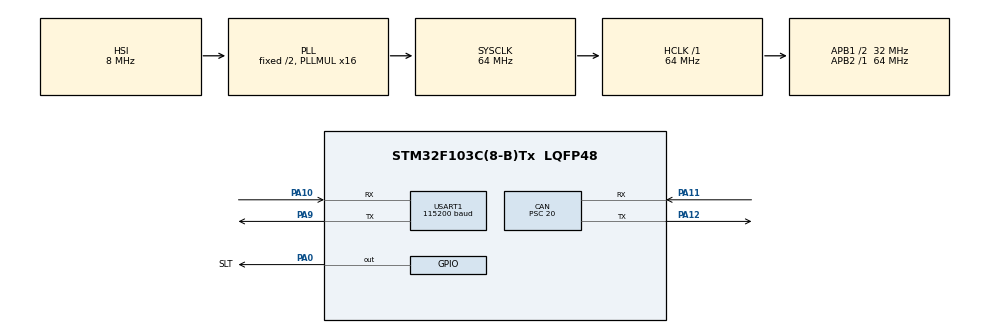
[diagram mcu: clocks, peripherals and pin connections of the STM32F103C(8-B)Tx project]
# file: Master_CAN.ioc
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CAN.ABOM=ENABLE
CAN.AWUM=ENABLE
CAN.BS1=CAN_BS1_13TQ
CAN.BS2=CAN_BS2_2TQ
CAN.CalculateBaudRate=100000
CAN.CalculateTimeBit=10000
CAN.CalculateTimeQuantum=625.0
CAN.NART=DISABLE
CAN.Prescaler=20
CAN.SJW=CAN_SJW_1TQ
Mcu.Family=STM32F1
Mcu.Name=STM32F103C(8-B)Tx
Mcu.Package=LQFP48
NVIC.PriorityGroup=NVIC_PRIORITYGROUP_4
NVIC.USART1_IRQn=true\:6\:0\:true\:false\:true\:true\:true\:true
NVIC.USB_LP_CAN1_RX0_IRQn=true\:5\:0\:true\:false\:true\:true\:true\:true
PA0-WKUP.GPIO_Label=SLT
PA0-WKUP.Signal=GPIO_Output
PA10.Mode=Asynchronous
PA10.Signal=USART1_RX
PA11.GPIO_PuPd=GPIO_PULLUP
PA11.Mode=CAN_Activate
PA11.Signal=CAN_RX
PA12.Mode=CAN_Activate
PA12.Signal=CAN_TX
PA13.Mode=Serial_Wire
PA13.Signal=SYS_JTMS-SWDIO
PA14.Mode=Serial_Wire
PA14.Signal=SYS_JTCK-SWCLK
PA9.Mode=Asynchronous
PA9.Signal=USART1_TX
ProjectManager.HeapSize=0x200
ProjectManager.StackSize=0x400
ProjectManager.TargetToolchain=STM32CubeIDE
RCC.AHBFreq_Value=64000000
RCC.APB1CLKDivider=RCC_HCLK_DIV2
RCC.APB1Freq_Value=32000000
RCC.APB1TimFreq_Value=64000000
RCC.APB2Freq_Value=64000000
RCC.APB2TimFreq_Value=64000000
RCC.HCLKFreq_Value=64000000
RCC.PLLMUL=RCC_PLL_MUL16
RCC.SYSCLKFreq_VALUE=64000000
RCC.SYSCLKSource=RCC_SYSCLKSOURCE_PLLCLK
RCC.USBFreq_Value=64000000
USART1.BaudRate=115200
USART1.VirtualMode=VM_ASYNC
board=custom

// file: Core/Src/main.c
/* USER CODE BEGIN Header */
/**
  ******************************************************************************
  * @file           : main.c
  * @brief          : Main program body
  ******************************************************************************
  * @attention
  *
  * Copyright (c) 2026 STMicroelectronics.
  * All rights reserved.
  *
  * This software is licensed under terms that can be found in the LICENSE file
  * in the root directory of this software component.
  * If no LICENSE file comes with this software, it is provided AS-IS.
  *
  ******************************************************************************
  */
/* USER CODE END Header */
#include "main.h"

/* USER CODE BEGIN Includes */
#include "stdio.h"
/* USER CODE END Includes */

/* USER CODE BEGIN PTD */
typedef struct
{
	CAN_RxHeaderTypeDef header;
	uint8_t data[8];
} CAN_Frame_t;

CAN_TxHeaderTypeDef   TxHeader =
{
	.IDE = CAN_ID_STD,
	.RTR = CAN_RTR_DATA,
	.TransmitGlobalTime = DISABLE
};
uint8_t               TxData[8];
uint32_t              TxMailbox;
/* USER CODE END PTD */

/* USER CODE BEGIN PD */
#define CAN_QUEUE_SIZE		32
/* USER CODE END PD */

CAN_HandleTypeDef hcan;

UART_HandleTypeDef huart1;

/* USER CODE BEGIN PV */
volatile CAN_Frame_t canQueue[CAN_QUEUE_SIZE];
volatile uint8_t canHead = 0;
volatile uint8_t canTail = 0;
volatile uint8_t canCount = 0;

uint8_t RxData[64];
uint8_t UART_TxData[64];

volatile uint8_t Uart_RxData[5];

uint8_t sendCmdFlag = 0;
/* USER CODE END PV */

void SystemClock_Config(void);
static void MX_GPIO_Init(void);
static void MX_CAN_Init(void);
static void MX_USART1_UART_Init(void);

/* USER CODE BEGIN 0 */
void HAL_CAN_RxFifo0MsgPendingCallback(CAN_HandleTypeDef *hcan)
{
    CAN_Frame_t tempFrame;
    if (HAL_CAN_GetError(hcan) != HAL_CAN_ERROR_NONE)
        return;
    HAL_CAN_GetRxMessage(hcan, CAN_RX_FIFO0, &tempFrame.header, tempFrame.data);

    if (canCount < CAN_QUEUE_SIZE)
    {
        canQueue[canHead] = tempFrame;
        canHead = (canHead + 1) % CAN_QUEUE_SIZE;
        canCount++;
    }
    else
    {
        // buffer full -> báo lỗi mất frame
    }

}

void HAL_UART_RxCpltCallback(UART_HandleTypeDef *huart)
{
    if (huart->Instance == USART1)
    {
    	uint16_t can_id = (Uart_RxData[0] << 8) | Uart_RxData[1];
    	uint8_t dlc = Uart_RxData[2];

		TxHeader.StdId = can_id;
		TxHeader.DLC = dlc;

		memcpy(TxData, &Uart_RxData[3U], 2);

    	sendCmdFlag = 1;

        HAL_UART_Receive_IT(huart, &Uart_RxData[0U], 5);
    }
}
/* USER CODE END 0 */

int main(void)
{

  /* MCU Configuration--------------------------------------------------------*/

  /* Reset of all peripherals, Initializes the Flash interface and the Systick. */
  HAL_Init();

  /* Configure the system clock */
  SystemClock_Config();

  /* Initialize all configured peripherals */
  MX_GPIO_Init();
  MX_CAN_Init();
  MX_USART1_UART_Init();
  /* USER CODE BEGIN 2 */
  uint8_t msg[] = "HELLO ESP32\r\n";
  HAL_UART_Transmit(&huart1, msg, sizeof(msg)-1, 100);
  HAL_Delay(1000);

  HAL_CAN_Start(&hcan);
  HAL_GPIO_WritePin(SLT_GPIO_Port, SLT_Pin, 0);
  HAL_UART_Receive_IT(&huart1, &Uart_RxData[0U], 5);

  /* Active the notification */
  HAL_CAN_ActivateNotification(&hcan, CAN_IT_RX_FIFO0_MSG_PENDING);
  /* USER CODE END 2 */

  /* Infinite loop */
  while (1)
  {

    /* USER CODE BEGIN 3 */
	  uint8_t uartPacket[16];
	  if (canCount > 0)
	  {
		  CAN_Frame_t frame = canQueue[canTail];

		  canTail = (canTail + 1) % CAN_QUEUE_SIZE;
		  canCount--;

		  uartPacket[0U] = (frame.header.StdId >> 8) & 0xff;
		  uartPacket[1U] = frame.header.StdId & 0xff;
		  uartPacket[2U] = frame.header.DLC;

		  memcpy(&uartPacket[3U], frame.data, frame.header.DLC);

		  HAL_UART_Transmit(&huart1, uartPacket, frame.header.DLC + 3, 100);
	  }

	  if(sendCmdFlag == 1)
	  {
		  if(HAL_CAN_GetTxMailboxesFreeLevel(&hcan) > 0)
		  {
			  if (HAL_CAN_AddTxMessage(&hcan, &TxHeader, TxData, &TxMailbox) != HAL_OK)
			  {
				  Error_Handler ();
			  }
			  HAL_Delay(1);
		  }
		  sendCmdFlag = 0;
	  }
  }
  /* USER CODE END 3 */
}

void SystemClock_Config(void)
{
  RCC_OscInitTypeDef RCC_OscInitStruct = {0};
  RCC_ClkInitTypeDef RCC_ClkInitStruct = {0};

  /** Initializes the RCC Oscillators according to the specified parameters
  * in the RCC_OscInitTypeDef structure.
  */
  RCC_OscInitStruct.OscillatorType = RCC_OSCILLATORTYPE_HSI;
  RCC_OscInitStruct.HSIState = RCC_HSI_ON;
  RCC_OscInitStruct.HSICalibrationValue = RCC_HSICALIBRATION_DEFAULT;
  RCC_OscInitStruct.PLL.PLLState = RCC_PLL_ON;
  RCC_OscInitStruct.PLL.PLLSource = RCC_PLLSOURCE_HSI_DIV2;
  RCC_OscInitStruct.PLL.PLLMUL = RCC_PLL_MUL16;
  if (HAL_RCC_OscConfig(&RCC_OscInitStruct) != HAL_OK)
  {
    Error_Handler();
  }

  /** Initializes the CPU, AHB and APB buses clocks
  */
  RCC_ClkInitStruct.ClockType = RCC_CLOCKTYPE_HCLK|RCC_CLOCKTYPE_SYSCLK
                              |RCC_CLOCKTYPE_PCLK1|RCC_CLOCKTYPE_PCLK2;
  RCC_ClkInitStruct.SYSCLKSource = RCC_SYSCLKSOURCE_PLLCLK;
  RCC_ClkInitStruct.AHBCLKDivider = RCC_SYSCLK_DIV1;
  RCC_ClkInitStruct.APB1CLKDivider = RCC_HCLK_DIV2;
  RCC_ClkInitStruct.APB2CLKDivider = RCC_HCLK_DIV1;

  if (HAL_RCC_ClockConfig(&RCC_ClkInitStruct, FLASH_LATENCY_2) != HAL_OK)
  {
    Error_Handler();
  }
}

static void MX_CAN_Init(void)
{

  hcan.Instance = CAN1;
  hcan.Init.Prescaler = 20;
  hcan.Init.Mode = CAN_MODE_NORMAL;
  hcan.Init.SyncJumpWidth = CAN_SJW_1TQ;
  hcan.Init.TimeSeg1 = CAN_BS1_13TQ;
  hcan.Init.TimeSeg2 = CAN_BS2_2TQ;
  hcan.Init.TimeTriggeredMode = DISABLE;
  hcan.Init.AutoBusOff = ENABLE;
  hcan.Init.AutoWakeUp = ENABLE;
  hcan.Init.AutoRetransmission = DISABLE;
  hcan.Init.ReceiveFifoLocked = DISABLE;
  hcan.Init.TransmitFifoPriority = DISABLE;
  if (HAL_CAN_Init(&hcan) != HAL_OK)
  {
    Error_Handler();
  }
  /* USER CODE BEGIN CAN_Init 2 */
  CAN_FilterTypeDef canfilterconfig;

  canfilterconfig.FilterActivation = CAN_FILTER_ENABLE;
  canfilterconfig.FilterBank = 13;  // which filter bank to use from the assigned ones
  canfilterconfig.FilterFIFOAssignment = CAN_FILTER_FIFO0;
  canfilterconfig.FilterIdHigh = 0x0000;
  canfilterconfig.FilterIdLow = 0x0000;
  canfilterconfig.FilterMaskIdHigh = 0x0000;
  canfilterconfig.FilterMaskIdLow = 0x0000;
  canfilterconfig.FilterMode = CAN_FILTERMODE_IDMASK;
  canfilterconfig.FilterScale = CAN_FILTERSCALE_32BIT;
  canfilterconfig.SlaveStartFilterBank = 20;  // how many filters to assign to the CAN1 (master can)

  HAL_CAN_ConfigFilter(&hcan, &canfilterconfig);
  /* USER CODE END CAN_Init 2 */

}

static void MX_USART1_UART_Init(void)
{

  huart1.Instance = USART1;
  huart1.Init.BaudRate = 115200;
  huart1.Init.WordLength = UART_WORDLENGTH_8B;
  huart1.Init.StopBits = UART_STOPBITS_1;
  huart1.Init.Parity = UART_PARITY_NONE;
  huart1.Init.Mode = UART_MODE_TX_RX;
  huart1.Init.HwFlowCtl = UART_HWCONTROL_NONE;
  huart1.Init.OverSampling = UART_OVERSAMPLING_16;
  if (HAL_UART_Init(&huart1) != HAL_OK)
  {
    Error_Handler();
  }

}

static void MX_GPIO_Init(void)
{
  GPIO_InitTypeDef GPIO_InitStruct = {0};

  /* GPIO Ports Clock Enable */
  __HAL_RCC_GPIOA_CLK_ENABLE();

  /*Configure GPIO pin Output Level */
  HAL_GPIO_WritePin(SLT_GPIO_Port, SLT_Pin, GPIO_PIN_RESET);

  /*Configure GPIO pin : SLT_Pin */
  GPIO_InitStruct.Pin = SLT_Pin;
  GPIO_InitStruct.Mode = GPIO_MODE_OUTPUT_PP;
  GPIO_InitStruct.Pull = GPIO_NOPULL;
  GPIO_InitStruct.Speed = GPIO_SPEED_FREQ_LOW;
  HAL_GPIO_Init(SLT_GPIO_Port, &GPIO_InitStruct);

}

void Error_Handler(void)
{
  __disable_irq();
  while (1)
  {
  }
}
